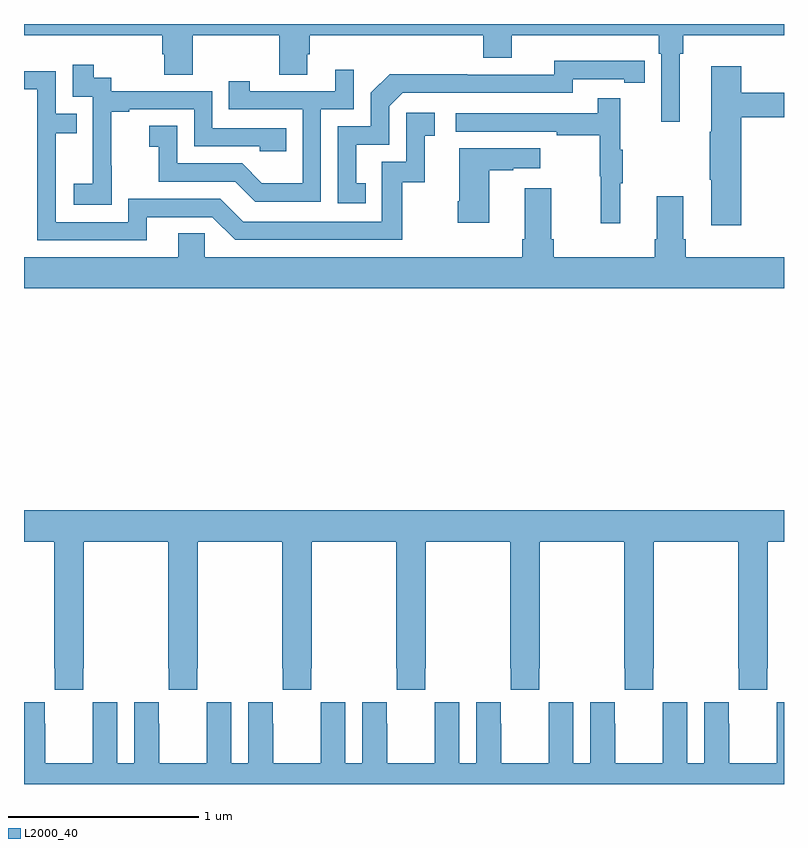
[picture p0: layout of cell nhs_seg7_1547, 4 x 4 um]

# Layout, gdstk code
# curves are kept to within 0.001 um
import gdstk
lib = gdstk.Library(unit=1e-6, precision=1e-09)
def P(c, l, *ps):  # polygons
    for p in ps: c.add(gdstk.Polygon(p, *l))
L2000_40 = (2000, 40)

nhs_seg7_1547 = lib.new_cell('nhs_seg7_1547')
P(nhs_seg7_1547, L2000_40, [(220.45,1009.844),(220.469,1009.844),(220.469,1009.94),(221,1009.94),(221,1010),(217,1010),(217,1009.94),(217.727,1009.94),(217.727,1009.842),(217.739,1009.842),(217.739,1009.732),(217.887,1009.732),(217.887,1009.94),(218.344,1009.94),(218.344,1009.732),(218.491,1009.732),(218.491,1009.842),(218.504,1009.842),(218.504,1009.94),(219.416,1009.94),(219.416,1009.823),(219.568,1009.823),(219.568,1009.94),(220.34,1009.94),(220.34,1009.844),(220.353,1009.844),(220.353,1009.485),(220.45,1009.485)],
  [(218.798,1009.161),(218.749,1009.161),(218.749,1009.365),(218.922,1009.365),(218.922,1009.566),(218.994,1009.638),(219.888,1009.638),(219.888,1009.71),(220.16,1009.71),(220.16,1009.69),(220.268,1009.69),(220.268,1009.806),(219.792,1009.807),(219.792,1009.734),(219.332,1009.734),(219.332,1009.736),(218.924,1009.736),(218.826,1009.638),(218.826,1009.461),(218.652,1009.461),(218.652,1009.056),(218.798,1009.056)],
  [(217.461,1009.255),(217.46,1009.255),(217.46,1009.539),(217.555,1009.539),(217.555,1009.551),(217.896,1009.551),(217.896,1009.356),(218.241,1009.356),(218.241,1009.329),(218.381,1009.329),(218.381,1009.452),(217.992,1009.452),(217.992,1009.647),(217.458,1009.647),(217.458,1009.716),(217.366,1009.716),(217.366,1009.786),(217.257,1009.786),(217.257,1009.617),(217.362,1009.617),(217.362,1009.388),(217.361,1009.388),(217.361,1009.159),(217.263,1009.159),(217.263,1009.049),(217.461,1009.049)],
  [(220.775,1009.51),(221,1009.51),(221,1009.639),(220.775,1009.639),(220.775,1009.777),(220.616,1009.777),(220.616,1009.433),(220.609,1009.433),(220.609,1009.18),(220.616,1009.18),(220.616,1008.942),(220.775,1008.942)],
  [(218.562,1009.551),(218.736,1009.551),(218.736,1009.759),(218.639,1009.759),(218.639,1009.647),(218.188,1009.647),(218.188,1009.699),(218.077,1009.699),(218.077,1009.551),(218.466,1009.551),(218.466,1009.162),(218.252,1009.162),(218.148,1009.266),(217.806,1009.266),(217.806,1009.465),(217.659,1009.465),(217.659,1009.355),(217.708,1009.355),(217.708,1009.17),(218.111,1009.17),(218.216,1009.065),(218.562,1009.065)],
  [(217.645,1008.984),(217.992,1008.984),(218.112,1008.864),(218.992,1008.864),(218.992,1009.167),(219.11,1009.167),(219.11,1009.413),(219.163,1009.413),(219.163,1009.534),(219.012,1009.534),(219.012,1009.275),(218.883,1009.275),(218.883,1008.96),(218.154,1008.96),(218.034,1009.08),(217.548,1009.08),(217.548,1008.957),(217.167,1008.957),(217.167,1009.426),(217.277,1009.426),(217.277,1009.527),(217.167,1009.527),(217.167,1009.752),(217,1009.752),(217,1009.656),(217.071,1009.656),(217.071,1008.861),(217.645,1008.861)],
  [(220.139,1009.163),(220.15,1009.163),(220.15,1009.337),(220.139,1009.337),(220.139,1009.609),(220.021,1009.609),(220.021,1009.53),(219.273,1009.53),(219.273,1009.434),(219.805,1009.434),(219.805,1009.414),(220.029,1009.414),(220.029,1009.2),(220.036,1009.2),(220.036,1008.951),(220.139,1008.951)],
  [(219.448,1009.231),(219.575,1009.231),(219.575,1009.241),(219.718,1009.241),(219.718,1009.345),(219.29,1009.345),(219.29,1009.066),(219.283,1009.066),(219.283,1008.954),(219.448,1008.954)],
  [(221,1008.772),(220.484,1008.772),(220.484,1008.868),(220.471,1008.868),(220.471,1009.093),(220.331,1009.093),(220.331,1008.868),(220.319,1008.868),(220.319,1008.772),(219.788,1008.772),(219.788,1008.868),(219.775,1008.868),(219.775,1009.135),(219.635,1009.135),(219.635,1008.868),(219.623,1008.868),(219.623,1008.772),(217.95,1008.772),(217.95,1008.899),(217.811,1008.899),(217.811,1008.772),(217,1008.772),(217,1008.608),(221,1008.608)],
  [(217,1007.276),(217.159,1007.276),(217.159,1006.609),(217.161,1006.609),(217.161,1006.497),(217.311,1006.497),(217.311,1006.609),(217.314,1006.609),(217.314,1007.276),(217.759,1007.276),(217.759,1006.609),(217.761,1006.609),(217.761,1006.497),(217.911,1006.497),(217.911,1006.609),(217.914,1006.609),(217.914,1007.276),(218.359,1007.276),(218.359,1006.609),(218.361,1006.609),(218.361,1006.497),(218.511,1006.497),(218.511,1006.609),(218.514,1006.609),(218.514,1007.276),(218.959,1007.276),(218.959,1006.609),(218.961,1006.609),(218.961,1006.497),(219.111,1006.497),(219.111,1006.609),(219.114,1006.609),(219.114,1007.276),(219.559,1007.276),(219.559,1006.609),(219.561,1006.609),(219.561,1006.497),(219.711,1006.497),(219.711,1006.609),(219.714,1006.609),(219.714,1007.276),(220.159,1007.276),(220.159,1006.609),(220.161,1006.609),(220.161,1006.497),(220.311,1006.497),(220.311,1006.609),(220.314,1006.609),(220.314,1007.276),(220.759,1007.276),(220.759,1006.609),(220.761,1006.609),(220.761,1006.497),(220.911,1006.497),(220.911,1006.609),(220.914,1006.609),(220.914,1007.276),(221,1007.276),(221,1007.44),(217,1007.44)],
  [(220.71,1006.316),(220.71,1006.429),(220.58,1006.429),(220.58,1006.108),(220.492,1006.108),(220.492,1006.429),(220.362,1006.429),(220.362,1006.316),(220.361,1006.316),(220.361,1006.108),(220.111,1006.108),(220.111,1006.316),(220.11,1006.316),(220.11,1006.429),(219.98,1006.429),(219.98,1006.108),(219.892,1006.108),(219.892,1006.429),(219.762,1006.429),(219.762,1006.316),(219.761,1006.316),(219.761,1006.108),(219.511,1006.108),(219.511,1006.316),(219.51,1006.316),(219.51,1006.429),(219.38,1006.429),(219.38,1006.108),(219.292,1006.108),(219.292,1006.429),(219.162,1006.429),(219.162,1006.316),(219.161,1006.316),(219.161,1006.108),(218.911,1006.108),(218.911,1006.316),(218.91,1006.316),(218.91,1006.429),(218.78,1006.429),(218.78,1006.108),(218.692,1006.108),(218.692,1006.429),(218.562,1006.429),(218.562,1006.316),(218.561,1006.316),(218.561,1006.108),(218.311,1006.108),(218.311,1006.316),(218.31,1006.316),(218.31,1006.429),(218.18,1006.429),(218.18,1006.108),(218.092,1006.108),(218.092,1006.429),(217.962,1006.429),(217.962,1006.316),(217.961,1006.316),(217.961,1006.108),(217.711,1006.108),(217.711,1006.316),(217.71,1006.316),(217.71,1006.429),(217.58,1006.429),(217.58,1006.108),(217.492,1006.108),(217.492,1006.429),(217.362,1006.429),(217.362,1006.316),(217.361,1006.316),(217.361,1006.108),(217.111,1006.108),(217.111,1006.316),(217.11,1006.316),(217.11,1006.429),(217,1006.429),(217,1006),(221,1006),(221,1006.429),(220.962,1006.429),(220.962,1006.316),(220.961,1006.316),(220.961,1006.108),(220.711,1006.108),(220.711,1006.316)])

lib.write_gds('nhs_seg7_1547.gds')
